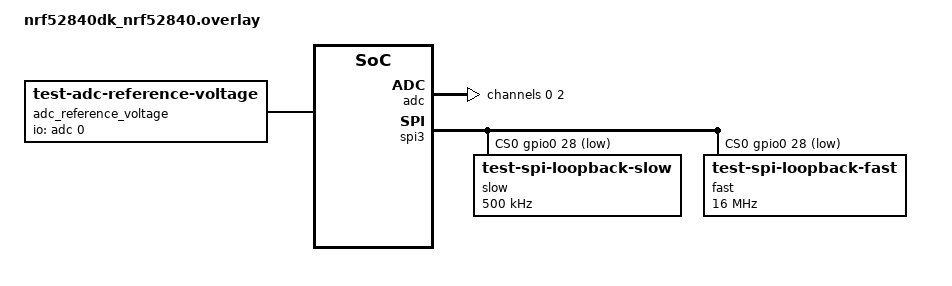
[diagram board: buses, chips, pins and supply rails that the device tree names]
/*
 * SPDX-License-Identifier: Apache-2.0
 *
 * Copyright (c) 2023 Benjamin Björnsson <benjamin.bjornsson@gmail.com>
 */

/*
 * SPDX-License-Identifier: Apache-2.0
 *
 * Copyright (c) 2023 Benjamin Björnsson <benjamin.bjornsson@gmail.com>
 */

&adc {
	#address-cells = <1>;
	#size-cells = <0>;

	channel@0 {
		reg = <0>;
		zephyr,gain = "ADC_GAIN_1_6";
		zephyr,reference = "ADC_REF_INTERNAL";
		zephyr,acquisition-time = <ADC_ACQ_TIME(ADC_ACQ_TIME_MICROSECONDS, 10)>;
		zephyr,input-positive = <NRF_SAADC_AIN1>;
		zephyr,resolution = <10>;
	};

	channel@2 {
		reg = <2>;
		zephyr,gain = "ADC_GAIN_1_6";
		zephyr,reference = "ADC_REF_INTERNAL";
		zephyr,acquisition-time = <ADC_ACQ_TIME(ADC_ACQ_TIME_MICROSECONDS, 10)>;
		zephyr,input-positive = <NRF_SAADC_AIN2>;
		zephyr,resolution = <10>;
	};
};

/*
 * Copyright (c) 2022 Nordic Semiconductor ASA
 *
 * SPDX-License-Identifier: Apache-2.0
 */

&spi3 {
	overrun-character = <0x00>;
	rx-delay = <1>;
	cs-gpios = <&gpio0 28 GPIO_ACTIVE_LOW>;
	zephyr,pm-device-runtime-auto;

	slow@0 {
		compatible = "test-spi-loopback-slow";
		reg = <0>;
		spi-max-frequency = <500000>;
	};

	fast@0 {
		compatible = "test-spi-loopback-fast";
		reg = <0>;
		spi-max-frequency = <16000000>;
	};
};

/ {
	adc_reference_voltage: adc-reference-voltage {
		compatible = "test-adc-reference-voltage";
		io-channels = <&adc 0>;
		reference-mv = <3000>;
		expected-accuracy = <60>;
	};
};
